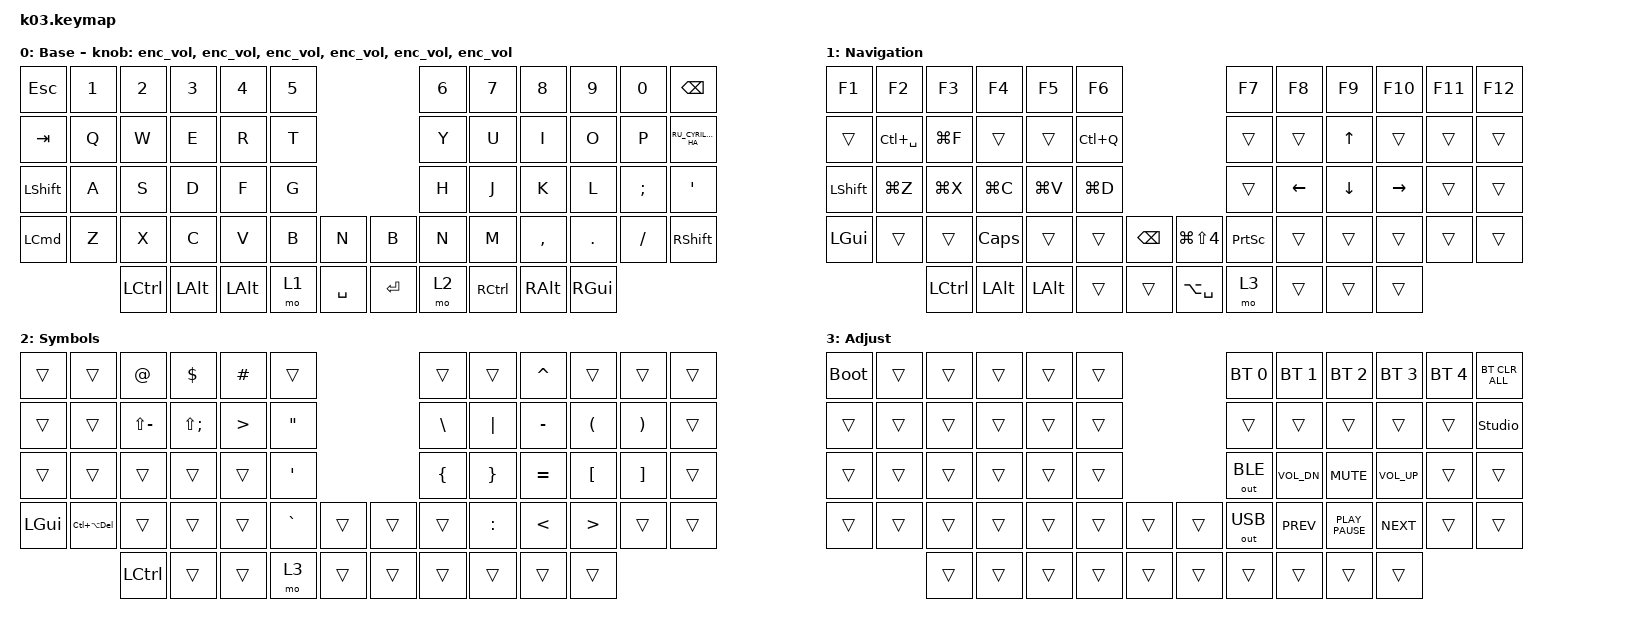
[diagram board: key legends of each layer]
#include "keys_ru.h"
#include <behaviors.dtsi>
#include <dt-bindings/zmk/bt.h>
#include <dt-bindings/zmk/keys.h>
#include <dt-bindings/zmk/outputs.h>

/ {
    behaviors {
        enc_vol: enc_vol {
            compatible = "zmk,behavior-sensor-rotate";
            label = "ENC_VOL";
            #sensor-binding-cells = <0>;
            bindings = <&kp C_VOL_UP>, <&kp C_VOL_DN>;
        };
    };

    keymap {
        compatible = "zmk,keymap";

        base {
            bindings = <
&kp ESC         &kp N1  &kp N2     &kp N3    &kp N4        &kp N5                          &kp N6  &kp N7     &kp N8     &kp N9    &kp N0    &kp BSPC
&kp TAB         &kp Q   &kp W      &kp E     &kp R         &kp T                           &kp Y   &kp U      &kp I      &kp O     &kp P     &kp RU_CYRILLIC_HA
&kp LEFT_SHIFT  &kp A   &kp S      &kp D     &kp F         &kp G                           &kp H   &kp J      &kp K      &kp L     &kp SEMI  &kp SQT
&kp LCMD        &kp Z   &kp X      &kp C     &kp V         &kp B   &kp N        &kp B      &kp N   &kp M      &kp COMMA  &kp DOT   &kp FSLH  &kp RSHFT
                        &kp LCTRL  &kp LALT  &kp LEFT_ALT  &mo 1   &kp SPACE    &kp ENTER  &mo 2   &kp RCTRL  &kp RALT   &kp RGUI
            >;

            display-name = "Base";
            sensor-bindings =
                <&enc_vol>,
                <&enc_vol>,
                <&enc_vol>,
                <&enc_vol>,
                <&enc_vol>,
                <&enc_vol>;
        };

        nav {
            bindings = <
&kp F1          &kp F2         &kp F3     &kp F4        &kp F5        &kp F6                                            &kp F7           &kp F8          &kp F9          &kp F10          &kp F11  &kp F12
&trans          &kp LC(SPACE)  &kp LG(F)  &trans        &trans        &kp LC(Q)                                         &trans           &trans          &kp UP_ARROW    &trans           &trans   &trans
&kp LEFT_SHIFT  &kp LG(Z)      &kp LG(X)  &kp LG(C)     &kp LG(V)     &kp LG(D)                                         &trans           &kp LEFT_ARROW  &kp DOWN_ARROW  &kp RIGHT_ARROW  &trans   &trans
&kp LEFT_GUI    &trans         &trans     &kp CAPS      &trans        &trans     &kp BACKSPACE    &kp LG(LS(NUMBER_4))  &kp PRINTSCREEN  &trans          &trans          &trans           &trans   &trans
                               &kp LCTRL  &kp LEFT_ALT  &kp LEFT_ALT  &trans     &trans           &kp LA(SPACE)         &mo 3            &trans          &trans          &trans
            >;

            display-name = "Navigation";
        };

        sym {
            bindings = <
&trans        &trans              &kp AT         &kp DLLR      &kp HASH  &trans                               &trans          &trans           &kp CARET      &trans            &trans             &trans
&trans        &trans              &kp LS(MINUS)  &kp LS(SEMI)  &kp GT    &kp DOUBLE_QUOTES                    &kp BACKSLASH   &kp PIPE         &kp MINUS      &kp LPAR          &kp RPAR           &trans
&trans        &trans              &trans         &trans        &trans    &kp APOS                             &kp LEFT_BRACE  &kp RIGHT_BRACE  &kp EQUAL      &kp LEFT_BRACKET  &kp RIGHT_BRACKET  &trans
&kp LEFT_GUI  &kp LC(LA(DELETE))  &trans         &trans        &trans    &kp GRAVE          &trans    &trans  &trans          &kp COLON        &kp LESS_THAN  &kp GREATER_THAN  &trans             &trans
                                  &kp LCTRL      &trans        &trans    &mo 3              &trans    &trans  &trans          &trans           &trans         &trans
            >;

            display-name = "Symbols";
        };

        adj {
            bindings = <
&bootloader  &trans  &trans  &trans  &trans  &trans                    &bt BT_SEL 0  &bt BT_SEL 1  &bt BT_SEL 2      &bt BT_SEL 3  &bt BT_SEL 4  &bt BT_CLR_ALL
&trans       &trans  &trans  &trans  &trans  &trans                    &trans        &trans        &trans            &trans        &trans        &studio_unlock
&trans       &trans  &trans  &trans  &trans  &trans                    &out OUT_BLE  &kp C_VOL_DN  &kp K_MUTE        &kp C_VOL_UP  &trans        &trans
&trans       &trans  &trans  &trans  &trans  &trans  &trans    &trans  &out OUT_USB  &kp K_PREV    &kp K_PLAY_PAUSE  &kp K_NEXT    &trans        &trans
                     &trans  &trans  &trans  &trans  &trans    &trans  &trans        &trans        &trans            &trans
            >;

            display-name = "Adjust";
        };
    };
};
